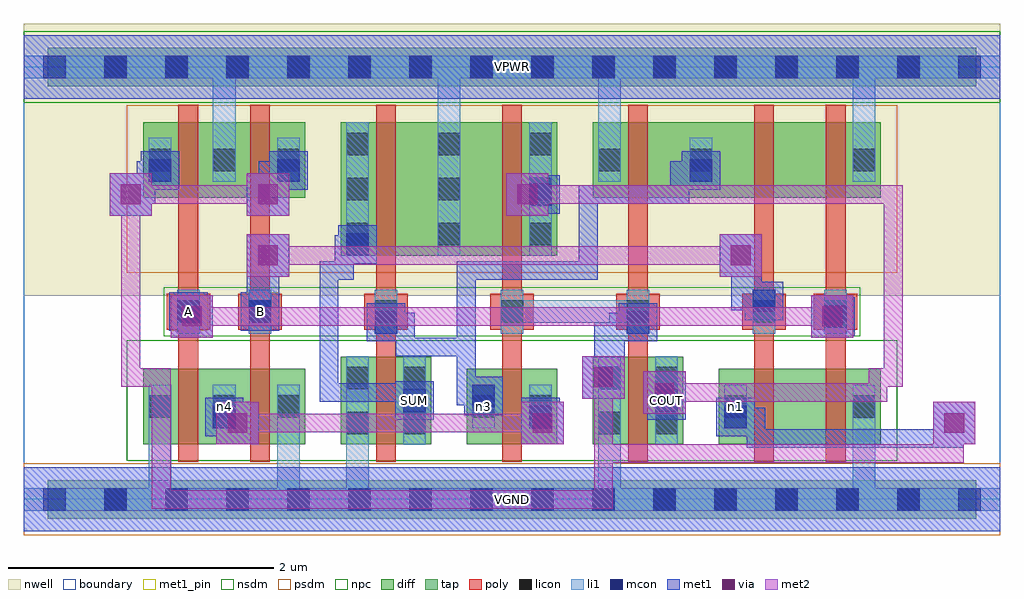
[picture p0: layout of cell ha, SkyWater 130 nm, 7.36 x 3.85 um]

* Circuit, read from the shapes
.subckt ha A B COUT SUM VGND VPWR n1 n3 n4
XM1 n4 A VGND VGND sky130_fd_pr__nfet_01v8 w=0.57 l=0.15
XM2 VGND B n4 VGND sky130_fd_pr__nfet_01v8 w=0.57 l=0.15
XM3 SUM n3 VGND VGND sky130_fd_pr__nfet_01v8 w=0.66 l=0.15
XM4 n4 n1 n3 VGND sky130_fd_pr__nfet_01v8 w=0.57 l=0.15
XM5 COUT n1 VGND VGND sky130_fd_pr__nfet_01v8 w=0.66 l=0.15
XM6 n2 B n1 VGND sky130_fd_pr__nfet_01v8 w=0.57 l=0.15
XM7 VGND A n2 VGND sky130_fd_pr__nfet_01v8 w=0.57 l=0.15
XM8 VPWR A n1 VPWR sky130_fd_pr__pfet_01v8 w=0.57 l=0.15
XM9 n1 B VPWR VPWR sky130_fd_pr__pfet_01v8 w=0.57 l=0.15
XM10 VPWR n3 SUM VPWR sky130_fd_pr__pfet_01v8 w=1.01 l=0.15
XM11 COUT n1 VPWR VPWR sky130_fd_pr__pfet_01v8 w=1.01 l=0.15
XM12 n3 n1 VPWR VPWR sky130_fd_pr__pfet_01v8 w=0.57 l=0.15
XM13 n5 B n3 VPWR sky130_fd_pr__pfet_01v8 w=0.57 l=0.15
XM14 VPWR A n5 VPWR sky130_fd_pr__pfet_01v8 w=0.57 l=0.15
.ends

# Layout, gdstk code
import gdstk
lib = gdstk.Library(unit=1e-6, precision=1e-09)
def R(c, l, rs):  # rectangles x0, y0, x1, y1
    for r in rs: c.add(gdstk.rectangle(r[:2], r[2:], *l))
def A(c, l, x, y, w, h, nx, ny, dx, dy):  # array of equal rectangles
    R(c, l, [(x+i*dx, y+j*dy, x+i*dx+w, y+j*dy+h) for i in range(nx) for j in range(ny)])
nwell = (64, 20)
diff = (65, 20)
tap = (65, 44)
poly = (66, 20)
licon = (66, 44)
li1 = (67, 20)
mcon = (67, 44)
met1_pin = (68, 16)
met1 = (68, 20)
via = (68, 44)
met2 = (69, 20)
nsdm = (93, 44)
psdm = (94, 20)
npc = (95, 20)
boundary = (235, 4)

c_ha = lib.new_cell('ha')
R(c_ha, nwell, [(0,1.535,7.36,3.585)])
R(c_ha, diff, [(0.9,0.415,2.12,0.985), (2.39,0.415,3.07,1.075), (3.34,0.415,4.02,0.985), (4.29,0.415,4.97,1.075), (5.24,0.415,6.46,0.985), (2.39,1.835,4.02,2.845), (0.9,2.275,2.12,2.845), (4.29,2.275,6.46,2.845)])
R(c_ha, tap, [(0.18,-0.145,7.18,0.145), (0.18,3.115,7.18,3.405)])
A(c_ha, poly, 1.705, 0.285, 0.15, 2.69, 5, 1, 0.95, 0)
A(c_ha, poly, 1.615, 1.28, 0.33, 0.27, 5, 1, 0.95, 0)
R(c_ha, poly, [(1.165,0.285,1.315,2.975), (6.045,0.285,6.195,2.975), (1.075,1.28,1.405,1.55), (5.955,1.28,6.285,1.55)])
A(c_ha, licon, 0.605, -0.085, 0.17, 0.17, 14, 2, 0.46, 3.26)
A(c_ha, licon, 0.94, 0.615, 0.17, 0.17, 3, 2, 0.485, 1.86)
A(c_ha, licon, 1.695, 1.33, 0.17, 0.17, 5, 1, 0.95, 0)
A(c_ha, licon, 2.43, 1.915, 0.17, 0.17, 3, 3, 0.69, 0.34)
R(c_ha, licon, [(2.43,0.49,2.6,0.66), (2.86,0.49,3.03,0.66), (4.33,0.49,4.5,0.66), (4.76,0.49,4.93,0.66), (3.38,0.615,3.55,0.785), (3.81,0.615,3.98,0.785), (5.28,0.615,5.45,0.785), (6.25,0.615,6.42,0.785), (2.43,0.83,2.6,1), (2.86,0.83,3.03,1), (4.33,0.83,4.5,1), (4.76,0.83,4.93,1), (1.155,1.33,1.325,1.5), (6.035,1.33,6.205,1.5), (4.33,2.475,4.5,2.645), (5.02,2.475,5.19,2.645), (6.25,2.475,6.42,2.645)])
A(c_ha, li1, 0.94, 0.535, 0.17, 0.33, 3, 2, 0.485, 1.86)
A(c_ha, li1, 1.695, 1.25, 0.17, 0.33, 5, 1, 0.95, 0)
A(c_ha, li1, 2.43, 1.835, 0.17, 1.01, 3, 1, 0.69, 0)
R(c_ha, li1, [(0,-0.085,7.36,0.085), (0.94,-0.085,1.11,0.865), (1.91,-0.085,2.08,0.865), (2.43,-0.085,2.6,1.08), (4.33,-0.085,4.5,1.08), (6.25,-0.085,6.42,0.865), (2.43,0.41,2.6,1.08), (2.86,0.41,3.03,1.08), (4.33,0.41,4.5,1.08), (4.76,0.41,4.93,1.08), (3.38,0.535,3.55,0.865), (3.81,0.535,3.98,0.865), (5.28,0.535,5.45,0.865), (6.25,0.535,6.42,0.865), (1.155,1.25,1.325,1.58), (6.035,1.25,6.205,1.58), (3.595,1.33,4.715,1.5), (3.12,1.835,3.29,3.345), (1.425,2.395,1.595,3.345), (4.33,2.395,4.5,2.725), (4.33,2.395,4.5,3.345), (5.02,2.395,5.19,2.725), (6.25,2.395,6.42,2.725), (6.25,2.395,6.42,3.345), (0,3.175,7.36,3.345)])
A(c_ha, mcon, 0.145, -0.085, 0.17, 0.17, 16, 2, 0.46, 3.26)
R(c_ha, mcon, [(1.425,0.535,1.595,0.705), (3.81,0.535,3.98,0.705), (5.28,0.535,5.45,0.705), (2.86,0.66,3.03,0.83), (4.76,0.66,4.93,0.83), (3.38,0.695,3.55,0.865), (2.645,1.25,2.815,1.42), (4.545,1.25,4.715,1.42), (6.035,1.295,6.205,1.465), (1.155,1.33,1.325,1.5), (1.695,1.33,1.865,1.5), (5.495,1.41,5.665,1.58), (2.43,1.835,2.6,2.005), (3.81,2.215,3.98,2.385), (0.94,2.395,1.11,2.565), (1.91,2.395,2.08,2.565), (5.02,2.395,5.19,2.565)])
R(c_ha, met1_pin, [(0,-0.24,7.36,0.24), (2.8,0.6,3.09,0.89), (4.7,0.6,4.99,0.89), (1.095,1.27,1.385,1.56), (1.635,1.27,1.925,1.56), (0,3.02,7.36,3.5)])
R(c_ha, met1, [(0,-0.24,7.36,0.24), (5.45,0.39,5.59,0.69), (5.45,0.39,7.085,0.53), (6.945,0.39,7.085,0.645), (1.45,0.415,1.77,0.735), (3.75,0.415,4.07,0.735), (6.855,0.415,7.175,0.735), (1.365,0.475,1.655,0.765), (3.75,0.475,4.04,0.765), (5.22,0.475,5.51,0.765), (1.54,0.505,1.68,0.69), (3.84,0.505,3.98,0.69), (1.44,0.55,1.68,0.69), (3.825,0.55,3.98,0.69), (5.295,0.55,5.59,0.69), (2.8,0.6,3.09,0.89), (4.7,0.6,4.99,0.89), (3.32,0.635,3.61,0.925), (4.67,0.645,4.99,0.965), (3.265,0.71,3.535,0.85), (3.265,0.71,3.405,0.99), (2.23,0.735,2.945,0.875), (2.23,0.735,2.37,1.795), (2.805,0.735,2.945,0.875), (4.76,0.735,4.9,0.875), (4.21,0.76,4.53,1.08), (3.265,0.85,3.405,1.22), (4.3,0.85,4.44,1.335), (2.805,1.08,2.945,1.405), (2.805,1.08,3.405,1.22), (3.265,1.08,3.405,1.795), (4.3,1.08,4.53,1.195), (4.415,1.08,4.53,1.195), (4.485,1.08,4.53,1.19), (2.585,1.19,2.875,1.48), (4.44,1.19,4.485,1.335), (4.485,1.19,4.775,1.48), (4.3,1.195,4.555,1.335), (4.415,1.195,4.555,1.405), (1.105,1.22,1.425,1.54), (5.935,1.22,6.255,1.54), (5.975,1.235,6.265,1.525), (2.66,1.265,2.945,1.405), (4.415,1.265,4.7,1.405), (1.095,1.27,1.385,1.56), (1.635,1.27,1.925,1.56), (1.195,1.31,1.335,1.45), (1.77,1.31,1.91,1.45), (1.77,1.31,1.91,1.91), (6.025,1.31,6.19,1.45), (5.435,1.35,5.725,1.64), (5.335,1.425,5.65,1.565), (5.335,1.425,5.475,1.68), (5.335,1.54,5.475,1.91), (1.68,1.56,1.925,1.68), (5.335,1.565,5.565,1.68), (5.435,1.64,5.565,1.68), (2.23,1.655,2.485,1.795), (2.345,1.655,2.485,1.99), (3.265,1.655,4.325,1.795), (4.185,1.655,4.325,2.37), (1.68,1.68,2,2), (5.245,1.68,5.565,2), (2.37,1.775,2.66,2.065), (2.345,1.85,2.585,1.99), (0.645,2.14,0.965,2.46), (1.68,2.14,2,2.46), (3.635,2.14,3.955,2.46), (3.75,2.155,4.04,2.445), (0.735,2.23,0.99,2.37), (0.85,2.23,0.99,2.55), (1.77,2.23,1.91,2.55), (3.725,2.23,3.965,2.37), (4.185,2.23,5.015,2.37), (4.875,2.23,5.015,2.55), (0.88,2.335,1.17,2.625), (1.85,2.335,2.14,2.625), (4.96,2.335,5.25,2.625), (0.85,2.41,1.095,2.55), (1.77,2.41,2.065,2.55), (4.875,2.41,5.175,2.55), (0,3.02,7.36,3.5)])
R(c_ha, via, [(1.535,0.5,1.685,0.65), (3.835,0.5,3.985,0.65), (6.94,0.5,7.09,0.65), (4.755,0.73,4.905,0.88), (4.295,0.845,4.445,0.995), (1.19,1.305,1.34,1.455), (6.02,1.305,6.17,1.455), (1.765,1.765,1.915,1.915), (5.33,1.765,5.48,1.915), (0.73,2.225,0.88,2.375), (1.765,2.225,1.915,2.375), (3.72,2.225,3.87,2.375)])
R(c_ha, met2, [(0.965,-0.07,4.44,0.07), (0.965,-0.07,1.105,0.99), (4.3,-0.07,4.44,0.415), (4.3,0.275,4.44,0.99), (4.3,0.275,7.085,0.415), (6.945,0.275,7.085,0.645), (1.45,0.415,1.77,0.735), (3.75,0.415,4.07,0.735), (6.855,0.415,7.175,0.735), (1.54,0.505,3.98,0.645), (4.67,0.645,4.99,0.965), (4.76,0.735,6.51,0.875), (6.37,0.735,6.51,0.99), (4.21,0.76,4.53,1.08), (0.735,0.85,0.875,2.37), (0.735,0.85,1.105,0.99), (6.37,0.85,6.625,0.99), (6.485,0.85,6.625,2.37), (1.105,1.22,1.425,1.54), (5.935,1.22,6.255,1.54), (1.195,1.31,6.165,1.45), (1.68,1.68,2,2), (5.245,1.68,5.565,2), (1.77,1.77,5.475,1.91), (0.645,2.14,0.965,2.46), (1.68,2.14,2,2.46), (3.635,2.14,3.955,2.46), (0.735,2.23,1.91,2.37), (3.725,2.23,6.625,2.37)])
R(c_ha, nsdm, [(0.775,0.29,6.585,1.2), (0,2.99,7.36,3.53)])
R(c_ha, psdm, [(0,-0.27,7.36,0.27), (0.775,1.71,6.585,2.97)])
R(c_ha, npc, [(1.055,1.23,6.305,1.6)])
R(c_ha, boundary, [(0,0,7.36,3.26)])
c_ha.add(gdstk.Label('n4', (1.51,0.7), layer=67, texttype=5))
c_ha.add(gdstk.Label('n3', (3.465,0.7), layer=67, texttype=5))
c_ha.add(gdstk.Label('n1', (5.365,0.7), layer=67, texttype=5))
c_ha.add(gdstk.Label('A', (1.24,1.415), layer=68, texttype=5))
c_ha.add(gdstk.Label('B', (1.78,1.415), layer=68, texttype=5))
c_ha.add(gdstk.Label('SUM', (2.945,0.745), layer=68, texttype=5))
c_ha.add(gdstk.Label('COUT', (4.845,0.745), layer=68, texttype=5))
c_ha.add(gdstk.Label('VPWR', (3.68,3.26), layer=68, texttype=5))
c_ha.add(gdstk.Label('VGND', (3.68,0), layer=68, texttype=5))
c_ha.add(gdstk.Label('A', (1.24,1.415), layer=68, texttype=16))
c_ha.add(gdstk.Label('B', (1.78,1.415), layer=68, texttype=16))
c_ha.add(gdstk.Label('SUM', (2.945,0.745), layer=68, texttype=16))
c_ha.add(gdstk.Label('COUT', (4.845,0.745), layer=68, texttype=16))
c_ha.add(gdstk.Label('VPWR', (3.68,3.26), layer=68, texttype=16))
c_ha.add(gdstk.Label('VGND', (3.68,0), layer=68, texttype=16))

lib.write_gds('ha.gds')
